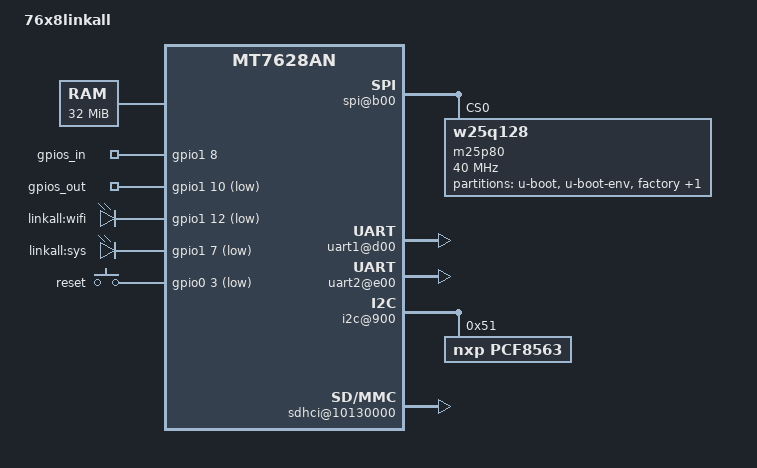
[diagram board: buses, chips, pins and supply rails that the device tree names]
/dts-v1/;

/include/ "mt7628an.dtsi"

/ {
	compatible = "mediatek,76x8linkall", "mediatek,mt7628an-soc";
	model = "76x8linkall";

	chosen {
		bootargs = "console=ttyS0,57600";
	};

	memory@0 {
		device_type = "memory";
		reg = <0x0 0x2000000>;
	};

	pinctrl {
		state_default: pinctrl0 {
			gpio {
				ralink,group = "gpio";
				ralink,function = "gpio";
			};
			perst {
				ralink,group = "perst";
				ralink,function = "gpio";
			};
			refclk {
				ralink,group = "refclk";
				ralink,function = "gpio";
			};
			
			wdt {
				ralink,group = "wdt";
				ralink,function = "gpio";
			};
			i2c {
				ralink,group = "i2c";
				ralink,function = "gpio";
			};
			i2s {
				ralink,group = "i2s";
				ralink,function = "gpio";
			};
			wled_an {
				ralink,group = "wled_an";
				ralink,function = "gpio";
			};
			p4led_an{
				ralink,group = "p4led_an";
				ralink,function = "p4led_an";
			};
			p0led_an{
				ralink,group = "p0led_an";
				ralink,function = "p0led_an";
			};
// GL -->
			p1led_an{
				ralink,group = "p1led_an";
				ralink,function = "gpio";
			};

			p2led_an{
				ralink,group = "p2led_an";
				ralink,function = "gpio";
			};

			p3led_an{
				ralink,group = "p3led_an";
				ralink,function = "gpio";
			};
// GL <--


		};
	};



// GL -->
      gpio_export { 
		compatible = "gpio-export";
		#size-cells = <0>;
		gpios_in { 
		    gpios = <
			      &gpio1 8 0 	
		             &gpio1 9 0
		             &gpio1 6 0>;
		     gpio-export,direction_may_change;
		 };
		gpios_out { 
		    gpios = <
			     &gpio1 10 1 
			     &gpio1 11 1	
		            &gpio0 11 0>;                   
		    gpio-export,direction_may_change;
		}; 


        };
//GL<---




	palmbus@10000000 {
		spi@b00 {
			status = "okay";

			pinctrl-names = "default";
			pinctrl-0 = <&spi_pins>, <&spi_cs1_pins>;

			m25p80@0 {
				#address-cells = <1>;
				#size-cells = <1>;
				compatible = "w25q128";
				reg = <0 0>;
				linux,modalias = "m25p80", "w25q128";
				spi-max-frequency = <40000000>;
				m25p,chunked-io = <31>;

				partition@0 {
					label = "u-boot";
					reg = <0x0 0x30000>;
					#read-only;
				};

				partition@30000 {
					label = "u-boot-env";
					reg = <0x30000 0x10000>;
				};

				factory: partition@40000 {
					label = "factory";
					reg = <0x40000 0x10000>;
					#read-only;
				};

				partition@50000 {
					label = "firmware";
					reg = <0x50000 0x7b0000>;
				};
			};

		};
			watchdog_0:watchdog {
				compatible = "linux,wdt-gpio";
				gpios = <&gpio1 6 1>;
				hw_algo = "toggle";
				hw_margin_ms = <1600>;
				always-running = <1>;
				status = "okay";
			};
		uart1@d00 {
			status = "okay";
		};
// GL -->
		uart2@e00 {
			status = "okay";
		};
// GL <--

		i2c@900 {
			status = "okay";
			pcf8563: rtc@51 {
				status = "okay";
				compatible = "nxp,pcf8563";
				reg = <0x51>;
            };
		};

	};




	ethernet@10100000 {
		mtd-mac-address = <&factory 0x28>;
	};

		sdhci@10130000 {
		status = "okay";
		mediatek,cd-high;
//		mediatek,cd-poll;
	};

	gpio-leds {
		compatible = "gpio-leds";
		wifi {
			label = "linkall:wifi";
			gpios = <&gpio1 12 1>;
		};
		sys {
			label = "linkall:sys";
			gpios = <&gpio1 7 1>;
		};
	};
	gpio-keys-polled {
		compatible = "gpio-keys-polled";
		#address-cells = <1>;
		#size-cells = <0>;
		poll-interval = <20>;
		reset {
			label = "reset";
			gpios = <&gpio0 3 1>; //gpio38 uart1_tx
			linux,code = <0x198>;
			
		};
	};

};
